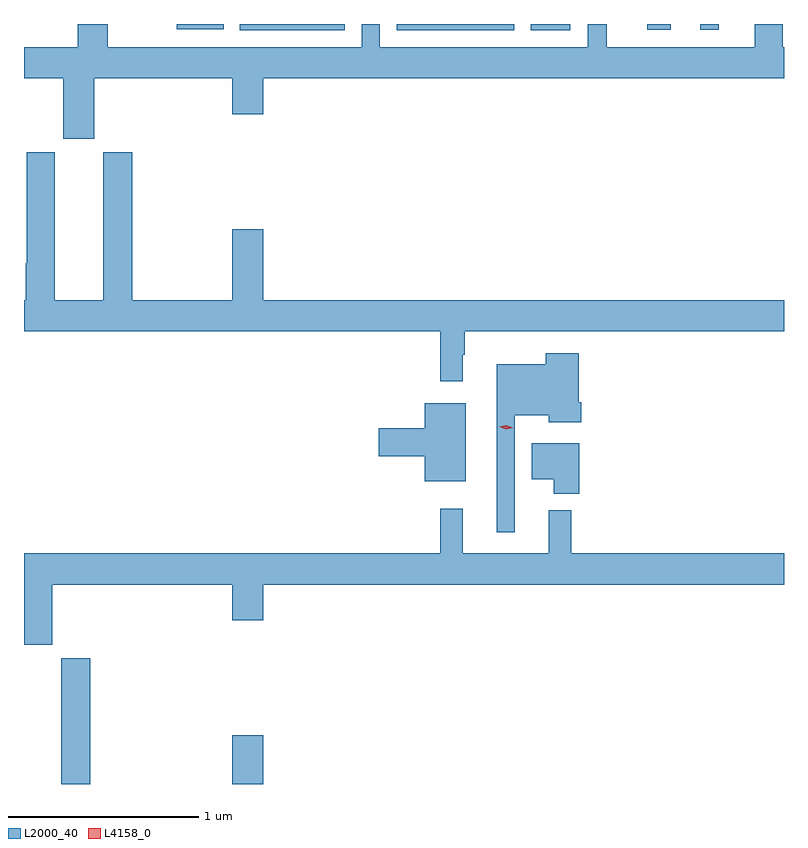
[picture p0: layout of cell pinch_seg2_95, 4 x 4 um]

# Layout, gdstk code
import gdstk
lib = gdstk.Library(unit=1e-6, precision=1e-09)
def R(c, l, rs):  # rectangles x0, y0, x1, y1
    for r in rs: c.add(gdstk.rectangle(r[:2], r[2:], *l))
def P(c, l, *ps):  # polygons
    for p in ps: c.add(gdstk.Polygon(p, *l))
L2000_40 = (2000, 40)
L4158_0 = (4158, 0)

pinch_seg2_95 = lib.new_cell('pinch_seg2_95')
R(pinch_seg2_95, L2000_40, [(1075.196,637.262,1075.349,637.923), (1076.096,637.262,1076.26,637.519), (1076.136,641.229,1076.688,641.262), (1076.964,641.229,1077.582,641.262), (1077.667,641.229,1077.876,641.262), (1078.28,641.232,1078.404,641.262), (1078.559,641.232,1078.658,641.262), (1075.806,641.235,1076.051,641.262)])
P(pinch_seg2_95, L2000_40, [(1075.372,640.976),(1076.096,640.976),(1076.096,640.788),(1076.26,640.788),(1076.26,640.976),(1079.001,640.976),(1079.001,641.14),(1078.995,641.14),(1078.995,641.262),(1078.847,641.262),(1078.847,641.14),(1078.067,641.14),(1078.067,641.262),(1077.969,641.262),(1077.969,641.14),(1076.874,641.14),(1076.874,641.262),(1076.778,641.262),(1076.778,641.14),(1075.443,641.14),(1075.443,641.262),(1075.283,641.262),(1075.283,641.14),(1075.001,641.14),(1075.001,640.976),(1075.208,640.976),(1075.208,640.659),(1075.372,640.659)],
  [(1077.31,639.521),(1077.322,639.521),(1077.322,639.644),(1079.001,639.644),(1079.001,639.808),(1076.26,639.808),(1076.26,640.183),(1076.096,640.183),(1076.096,639.808),(1075.571,639.808),(1075.571,640.587),(1075.418,640.587),(1075.418,639.808),(1075.162,639.808),(1075.162,640.587),(1075.015,640.587),(1075.015,640.004),(1075.01,640.004),(1075.01,639.808),(1075.001,639.808),(1075.001,639.644),(1077.193,639.644),(1077.193,639.381),(1077.31,639.381)],
  [(1077.585,639.203),(1077.764,639.203),(1077.764,639.167),(1077.935,639.167),(1077.935,639.271),(1077.922,639.271),(1077.922,639.529),(1077.747,639.529),(1077.747,639.472),(1077.488,639.472),(1077.488,638.586),(1077.585,638.586)],
  [(1077.325,639.265),(1077.11,639.265),(1077.11,639.134),(1076.868,639.134),(1076.868,638.987),(1077.11,638.987),(1077.11,638.855),(1077.325,638.855)],
  [(1077.923,639.055),(1077.674,639.055),(1077.674,638.867),(1077.788,638.867),(1077.788,638.789),(1077.923,638.789)],
  [(1075.15,638.312),(1076.096,638.312),(1076.096,638.124),(1076.26,638.124),(1076.26,638.312),(1079.001,638.312),(1079.001,638.476),(1077.881,638.476),(1077.881,638.704),(1077.764,638.704),(1077.764,638.476),(1077.311,638.476),(1077.311,638.71),(1077.193,638.71),(1077.193,638.476),(1075.001,638.476),(1075.001,637.995),(1075.15,637.995)])
P(pinch_seg2_95, L4158_0, [(1077.538,639.13),(1077.503,639.142),(1077.503,639.142),(1077.503,639.142),(1077.539,639.15),(1077.574,639.138),(1077.575,639.138),(1077.574,639.138)])

lib.write_gds('pinch_seg2_95.gds')
